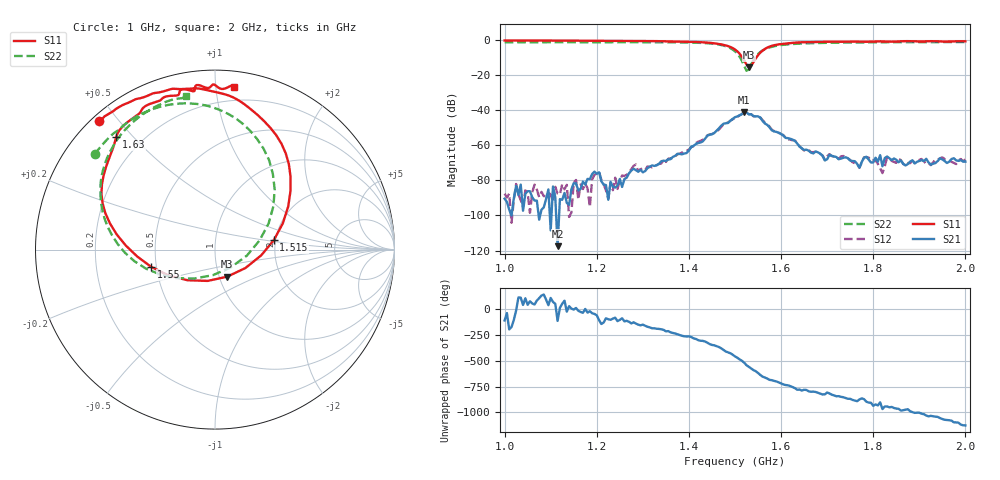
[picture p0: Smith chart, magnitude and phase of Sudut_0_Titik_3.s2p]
# Hz S RI R 50
! CMT, C1220, 16058040, 17.2.0/1
! Date: 14/08/2018 12:36:11
! Data: Format (Calibration Info)
! Freq  S11: Re/Im (F2)  S21: Re/Im (F2)  S12: Re/Im (F2)  S22: Re/Im (F2)
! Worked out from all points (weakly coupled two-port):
!   201 points, 1 GHz to 2 GHz, reference 50 ohm
!   highest |S21| = -41.09 dB at 1.52 GHz (marker M1); lowest = -117.5 dB at 1.115 GHz (marker M2)
!   lowest |S11| = -15.6 dB at 1.53 GHz (marker M3), VSWR 1.40, Z = 54.6 - j16.9 ohm
!   |S11| at or under -10 dB: 1.516 GHz to 1.546 GHz (30.51 MHz wide, 1.99 % of centre)
!   |S22| runs from -17.6 to -1.2 dB; largest |S21 - S12| = 0.0004
!   S11 on the Smith chart (normalised r, x): 1 GHz: 0.02, +0.44; 1.515 GHz: 1.96, +0.23; 1.55 GHz: 0.47, -0.10; 1.63 GHz: 0.11, +0.45; 2 GHz: 0.10, +1.12
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1e9  -0.6453 0.7148  -1.2e-05 -2.77e-05  3.78e-05 -1.76e-05  -0.6705 0.5318
1.115e9  -0.5354 0.7938  -6.23e-07 -1.18e-06  2.34e-05 3.45e-05  -0.6034 0.6106
1.17e9  -0.4728 0.8232  7.16e-05 -5.82e-05  5.63e-05 -6.32e-06  -0.5612 0.6504
1.195e9  -0.4365 0.8396  0.000112 -0.000138  9.05e-05 -0.000113  -0.5366 0.6642
1.255e9  -0.3466 0.87  -2.62e-06 -6.49e-05  -4.9e-05 -0.000129  -0.4893 0.7075
1.335e9  -0.211 0.8948  -0.000285 7.79e-05  -0.000266 0.000121  -0.3783 0.7702
1.45e9  0.1863 0.7925  0.00202 0.000379  0.00206 0.000319  0.0143 0.783
1.5e9  0.4209 0.3283  -0.00111 -0.0062  -0.00104 -0.0058  0.3323 0.3372
1.515e9  0.3274 0.0521  -0.00608 -0.00474  -0.00602 -0.00497  0.248 0.0506
1.52e9  0.2573 -0.0322  -0.00834 -0.00288  -0.00839 -0.00296  0.1774 -0.0338
1.53e9  0.0684 -0.1508  -0.00714 0.00265  -0.00718 0.00264  -0.0127 -0.1427
1.55e9  -0.3553 -0.0964  -0.00119 0.00656  -0.00147 0.0065  -0.3844 -0.1061
1.58e9  -0.6265 0.2586  0.00228 0.00138  0.00242 0.00133  -0.6138 0.1687
1.63e9  -0.551 0.626  0.000945 -0.000954  0.000954 -0.000963  -0.619 0.4593
1.67e9  -0.4327 0.7493  0.000112 -0.000576  0.000175 -0.000611  -0.5677 0.5772
1.77e9  -0.2314 0.8574  -0.00021 -0.0001  -0.000186 -0.000129  -0.4403 0.7249
1.79e9  -0.1998 0.8683  -0.000392 3.28e-05  -0.000442 5.39e-05  -0.4152 0.7434
1.815e9  -0.1765 0.8934  -0.000521 2.13e-05  -0.000215 -5.34e-05  -0.3857 0.7649
1.82e9  -0.1643 0.8925  -9.79e-05 0.000233  -0.00016 2.06e-05  -0.3796 0.7684
1.835e9  -0.1257 0.8827  -0.000273 0.000328  -0.000299 0.00031  -0.3622 0.7792
1.87e9  -0.1018 0.9166  -7.88e-05 0.000254  -2.97e-05 0.000266  -0.32 0.802
2e9  0.1058 0.9051  0.000241 -0.00024  0.000253 -0.000305  -0.1616 0.8539
